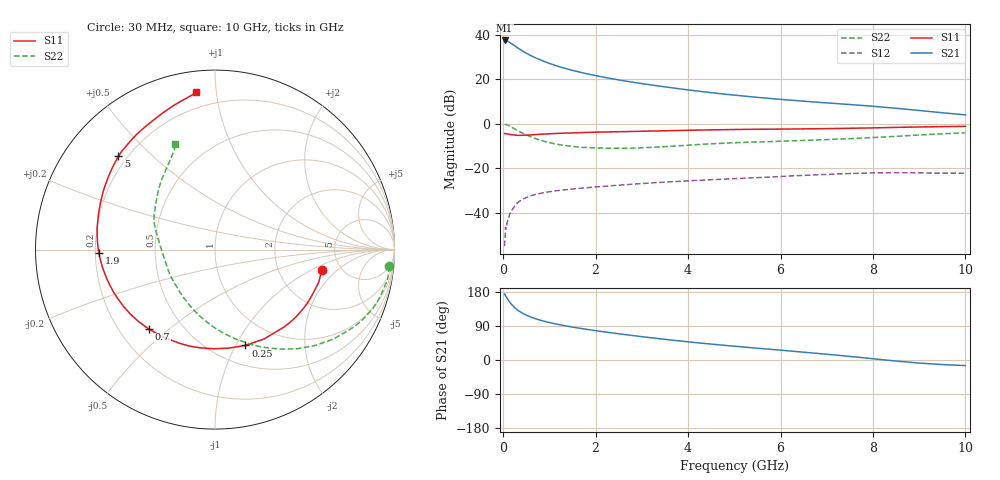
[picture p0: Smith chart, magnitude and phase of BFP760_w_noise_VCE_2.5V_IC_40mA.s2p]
! Infineon Technologies  Discrete & RF Semiconductors
! BFP760
! VCE =  2.5 V,  IC =  40 mA
! Common Emitter S-Parameters:  Nov 2012
# GHz  S  MA  R  50
!  f  S11  S21  S12  S22
! GHz  MAG  ANG  MAG  ANG  MAG  ANG  MAG  ANG
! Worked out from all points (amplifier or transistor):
!   99 points, 30 MHz to 10 GHz, reference 50 ohm
!   highest |S21| = 37.5 dB at 30 MHz (marker M1)
!   |S21| within 3 dB of that: start of sweep to 290.5 MHz
!   unconditionally stable (mu >= 1): 3.91 GHz to end of sweep
!   at 350 MHz: K = 0.33, MSG = 34.2 dB, |S12| = -34.8 dB
!   at 3.5 GHz: K = 0.97, MSG = 21.4 dB, |S12| = -26.2 dB
!   at 10 GHz: K = 1.06, MAG = 11.6 dB, |S12| = -22.1 dB
!   lowest NFmin = 0.92 dB at 900 MHz
!   S11 on the Smith chart (normalised r, x): 30 MHz: 3.58, -1.26; 250 MHz: 0.70, -1.10; 700 MHz: 0.32, -0.43; 1.9 GHz: 0.21, -0.01; 5 GHz: 0.17, +0.39; 10 GHz: 0.11, +0.88
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0.03  0.6045 -10.6  74.62 174.1  0.0018 88.4  0.9743 -5.5
0.05  0.6062 -17.3  74.57 169.4  0.0048 76.7  0.976 -9.8
0.07  0.5986 -23.8  73.48 165.5  0.0046 81.1  0.9624 -14.0
0.13  0.5837 -42.4  68.26 154.5  0.0087 72.3  0.9079 -25.8
0.15  0.5781 -48.2  66.39 151.2  0.0098 72.4  0.8843 -29.3
0.2  0.5681 -61.2  61.3 144.0  0.0122 66.4  0.8262 -37.2
0.25  0.56 -72.4  56.52 137.9  0.0144 63.0  0.7696 -44.1
0.35  0.5524 -90.9  47.95 128.4  0.0182 56.5  0.6729 -55.5
0.45  0.5563 -105.1  41.35 121.3  0.0211 52.1  0.5968 -65.0
0.6  0.5671 -121.3  34.04 113.2  0.0244 47.4  0.5109 -77.1
0.7  0.5757 -129.7  30.37 108.9  0.0261 44.6  0.4677 -84.3
0.9  0.5927 -142.9  24.88 101.8  0.0289 41.1  0.403 -97.2
1.1  0.6062 -153.0  20.98 96.1  0.0311 39.0  0.3596 -108.4
1.7  0.6382 -173.3  14.17 82.9  0.0362 36.2  0.2979 -135.2
1.9  0.6471 -178.3  12.76 79.2  0.0377 35.8  0.2905 -142.7
2.6  0.6705 167.4  9.325 67.6  0.0427 35.0  0.284 -164.2
3.4  0.6973 154.3  6.995 55.9  0.0486 33.6  0.3051 176.5
5  0.7481 136.0  4.425 36.5  0.059 30.1  0.377 154.3
5.1  0.7505 135.2  4.321 35.4  0.0597 30.0  0.3808 153.3
6.7  0.7778 123.6  3.12 18.5  0.0713 25.1  0.4327 138.6
8.5  0.8343 106.3  2.243 -2.8  0.0803 14.0  0.5252 121.1
10  0.8822 96.8  1.597 -14.8  0.0782 9.0  0.6313 110.6
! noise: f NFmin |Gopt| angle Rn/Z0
0.9  0.92  0.23  -166  0.11
1.8  0.94  0.24  -157  0.08
2.4  0.99  0.25  -149  0.08
3.5  1.15  0.25  -138  0.18
5.5  1.38  0.32  -79  0.5
8  1.61  0.47  -57  0.52
